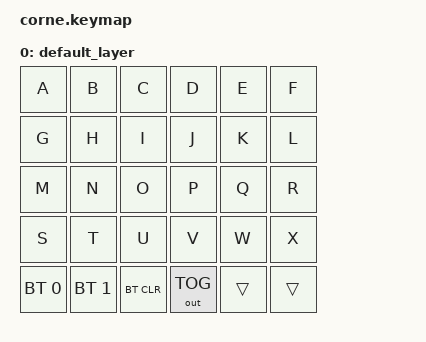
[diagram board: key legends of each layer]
#include <dt-bindings/zmk/keys.h>
#include <behaviors.dtsi>
#include <dt-bindings/zmk/bt.h>
#include <dt-bindings/zmk/outputs.h>

/ {
    keymap {
        compatible = "zmk,keymap";

        default_layer {
            bindings = <
                &kp A &kp B &kp C &kp D &kp E &kp F
                &kp G &kp H &kp I &kp J &kp K &kp L
                &kp M &kp N &kp O &kp P &kp Q &kp R
                &kp S &kp T &kp U &kp V &kp W &kp X
                &bt BT_SEL 0 &bt BT_SEL 1 &bt BT_CLR &out OUT_TOG &trans &trans
            >;
        };
    };
};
